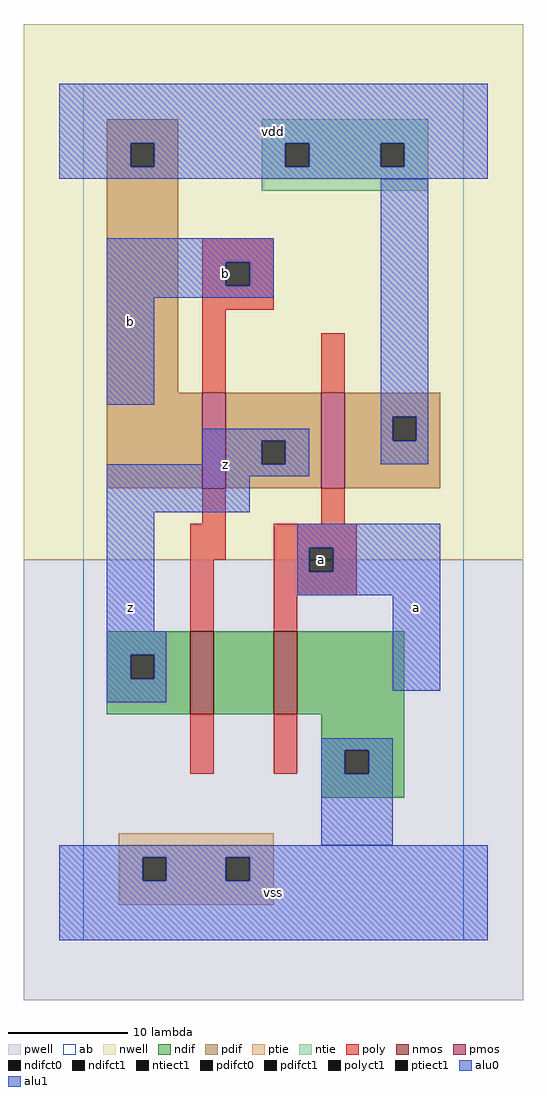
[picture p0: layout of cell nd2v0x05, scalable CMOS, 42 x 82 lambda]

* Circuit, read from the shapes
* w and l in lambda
.subckt nd2v0x05 a b vdd vss z
M1 n1 b z vss nfet w=7 l=2
M2 vss a n1 vss nfet w=7 l=2
M3 z b vdd vdd pfet w=8 l=2
M4 vdd a z vdd pfet w=8 l=2
.ends

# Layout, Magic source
magic
tech scmos
<< ab >>
rect 0 0 32 72
<< nwell >>
rect -5 32 37 77
<< pwell >>
rect -5 -5 37 32
<< poly >>
rect 10 57 16 59
rect 10 55 12 57
rect 14 55 16 57
rect 10 53 16 55
rect 10 46 12 53
rect 20 46 22 51
rect 10 35 12 38
rect 20 35 22 38
rect 9 32 12 35
rect 16 33 23 35
rect 9 26 11 32
rect 16 31 19 33
rect 21 31 23 33
rect 16 29 23 31
rect 16 26 18 29
rect 9 14 11 19
rect 16 14 18 19
<< ndif >>
rect 2 24 9 26
rect 2 22 4 24
rect 6 22 9 24
rect 2 19 9 22
rect 11 19 16 26
rect 18 19 27 26
rect 20 16 27 19
rect 20 14 22 16
rect 24 14 27 16
rect 20 12 27 14
<< pdif >>
rect 2 67 8 69
rect 2 65 4 67
rect 6 65 8 67
rect 2 46 8 65
rect 2 38 10 46
rect 12 42 20 46
rect 12 40 15 42
rect 17 40 20 42
rect 12 38 20 40
rect 22 44 30 46
rect 22 42 26 44
rect 28 42 30 44
rect 22 38 30 42
<< alu1 >>
rect -2 67 34 72
rect -2 65 4 67
rect 6 65 17 67
rect 19 65 25 67
rect 27 65 34 67
rect -2 64 34 65
rect 2 57 16 59
rect 2 55 12 57
rect 14 55 16 57
rect 2 54 16 55
rect 2 45 6 54
rect 10 42 19 43
rect 10 40 15 42
rect 17 40 19 42
rect 2 39 19 40
rect 2 36 14 39
rect 2 26 6 36
rect 18 33 30 35
rect 18 31 19 33
rect 21 31 30 33
rect 18 29 30 31
rect 2 24 7 26
rect 2 22 4 24
rect 6 22 7 24
rect 2 20 7 22
rect 26 21 30 29
rect -2 7 34 8
rect -2 5 5 7
rect 7 5 12 7
rect 14 5 34 7
rect -2 0 34 5
<< ptie >>
rect 3 7 16 9
rect 3 5 5 7
rect 7 5 12 7
rect 14 5 16 7
rect 3 3 16 5
<< ntie >>
rect 15 67 29 69
rect 15 65 17 67
rect 19 65 25 67
rect 27 65 29 67
rect 15 63 29 65
<< nmos >>
rect 9 19 11 26
rect 16 19 18 26
<< pmos >>
rect 10 38 12 46
rect 20 38 22 46
<< polyct1 >>
rect 12 55 14 57
rect 19 31 21 33
<< ndifct0 >>
rect 22 14 24 16
<< ndifct1 >>
rect 4 22 6 24
<< ntiect1 >>
rect 17 65 19 67
rect 25 65 27 67
<< ptiect1 >>
rect 5 5 7 7
rect 12 5 14 7
<< pdifct0 >>
rect 26 42 28 44
<< pdifct1 >>
rect 4 65 6 67
rect 15 40 17 42
<< alu0 >>
rect 25 44 29 64
rect 25 42 26 44
rect 28 42 29 44
rect 25 40 29 42
rect 20 16 26 17
rect 20 14 22 16
rect 24 14 26 16
rect 20 8 26 14
<< labels >>
rlabel alu1 4 28 4 28 6 z
rlabel alu1 4 52 4 52 6 b
rlabel alu1 12 40 12 40 6 z
rlabel alu1 12 56 12 56 6 b
rlabel alu1 16 4 16 4 6 vss
rlabel polyct1 20 32 20 32 6 a
rlabel alu1 16 68 16 68 6 vdd
rlabel alu1 28 28 28 28 6 a
<< end >>
